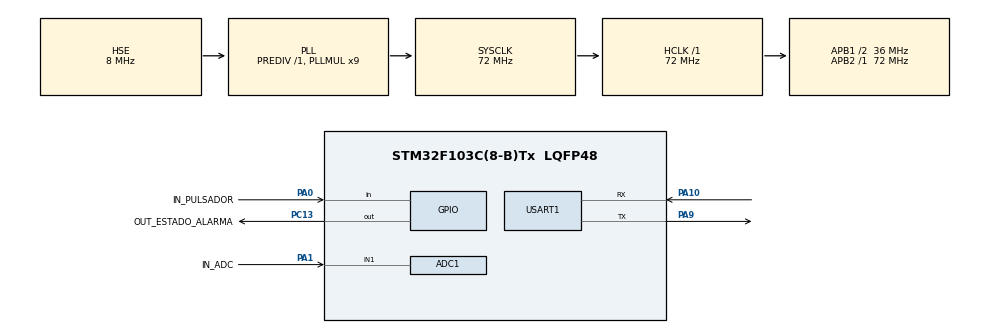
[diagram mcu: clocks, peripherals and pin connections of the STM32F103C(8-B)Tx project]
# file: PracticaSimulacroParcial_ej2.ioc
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ADC1.Channel-0\#ChannelRegularConversion=ADC_CHANNEL_1
ADC1.Channel-1\#ChannelRegularConversion=ADC_CHANNEL_1
ADC1.Channel-10\#ChannelRegularConversion=ADC_CHANNEL_1
ADC1.Channel-11\#ChannelRegularConversion=ADC_CHANNEL_1
ADC1.Channel-12\#ChannelRegularConversion=ADC_CHANNEL_1
ADC1.Channel-13\#ChannelRegularConversion=ADC_CHANNEL_1
ADC1.Channel-14\#ChannelRegularConversion=ADC_CHANNEL_1
ADC1.Channel-15\#ChannelRegularConversion=ADC_CHANNEL_1
ADC1.Channel-2\#ChannelRegularConversion=ADC_CHANNEL_1
ADC1.Channel-3\#ChannelRegularConversion=ADC_CHANNEL_1
ADC1.Channel-4\#ChannelRegularConversion=ADC_CHANNEL_1
ADC1.Channel-5\#ChannelRegularConversion=ADC_CHANNEL_1
ADC1.Channel-6\#ChannelRegularConversion=ADC_CHANNEL_1
ADC1.Channel-7\#ChannelRegularConversion=ADC_CHANNEL_1
ADC1.Channel-8\#ChannelRegularConversion=ADC_CHANNEL_1
ADC1.Channel-9\#ChannelRegularConversion=ADC_CHANNEL_1
ADC1.NbrOfConversion=16
ADC1.NbrOfConversionFlag=1
ADC1.Rank-0\#ChannelRegularConversion=1
ADC1.Rank-1\#ChannelRegularConversion=2
ADC1.Rank-10\#ChannelRegularConversion=11
ADC1.Rank-11\#ChannelRegularConversion=12
ADC1.Rank-12\#ChannelRegularConversion=13
ADC1.Rank-13\#ChannelRegularConversion=14
ADC1.Rank-14\#ChannelRegularConversion=15
ADC1.Rank-15\#ChannelRegularConversion=16
ADC1.Rank-2\#ChannelRegularConversion=3
ADC1.Rank-3\#ChannelRegularConversion=4
ADC1.Rank-4\#ChannelRegularConversion=5
ADC1.Rank-5\#ChannelRegularConversion=6
ADC1.Rank-6\#ChannelRegularConversion=7
ADC1.Rank-7\#ChannelRegularConversion=8
ADC1.Rank-8\#ChannelRegularConversion=9
ADC1.Rank-9\#ChannelRegularConversion=10
ADC1.SamplingTime-0\#ChannelRegularConversion=ADC_SAMPLETIME_1CYCLE_5
ADC1.SamplingTime-1\#ChannelRegularConversion=ADC_SAMPLETIME_1CYCLE_5
ADC1.SamplingTime-10\#ChannelRegularConversion=ADC_SAMPLETIME_1CYCLE_5
ADC1.SamplingTime-11\#ChannelRegularConversion=ADC_SAMPLETIME_1CYCLE_5
ADC1.SamplingTime-12\#ChannelRegularConversion=ADC_SAMPLETIME_1CYCLE_5
ADC1.SamplingTime-13\#ChannelRegularConversion=ADC_SAMPLETIME_1CYCLE_5
ADC1.SamplingTime-14\#ChannelRegularConversion=ADC_SAMPLETIME_1CYCLE_5
ADC1.SamplingTime-15\#ChannelRegularConversion=ADC_SAMPLETIME_1CYCLE_5
ADC1.SamplingTime-2\#ChannelRegularConversion=ADC_SAMPLETIME_1CYCLE_5
ADC1.SamplingTime-3\#ChannelRegularConversion=ADC_SAMPLETIME_1CYCLE_5
ADC1.SamplingTime-4\#ChannelRegularConversion=ADC_SAMPLETIME_1CYCLE_5
ADC1.SamplingTime-5\#ChannelRegularConversion=ADC_SAMPLETIME_1CYCLE_5
ADC1.SamplingTime-6\#ChannelRegularConversion=ADC_SAMPLETIME_1CYCLE_5
ADC1.SamplingTime-7\#ChannelRegularConversion=ADC_SAMPLETIME_1CYCLE_5
ADC1.SamplingTime-8\#ChannelRegularConversion=ADC_SAMPLETIME_1CYCLE_5
ADC1.SamplingTime-9\#ChannelRegularConversion=ADC_SAMPLETIME_1CYCLE_5
ADC1.master=1
Mcu.Family=STM32F1
Mcu.Name=STM32F103C(8-B)Tx
Mcu.Package=LQFP48
NVIC.PriorityGroup=NVIC_PRIORITYGROUP_4
PA0-WKUP.GPIO_Label=IN_PULSADOR
PA0-WKUP.GPIO_PuPd=GPIO_PULLUP
PA0-WKUP.Signal=GPIO_Input
PA1.GPIO_Label=IN_ADC
PA1.Signal=ADCx_IN1
PA10.Mode=Asynchronous
PA10.Signal=USART1_RX
PA13.Mode=Serial_Wire
PA13.Signal=SYS_JTMS-SWDIO
PA14.Mode=Serial_Wire
PA14.Signal=SYS_JTCK-SWCLK
PA9.Mode=Asynchronous
PA9.Signal=USART1_TX
PC13-TAMPER-RTC.GPIO_Label=OUT_ESTADO_ALARMA
PC13-TAMPER-RTC.Signal=GPIO_Output
PD0-OSC_IN.Mode=HSE-External-Oscillator
PD0-OSC_IN.Signal=RCC_OSC_IN
PD1-OSC_OUT.Mode=HSE-External-Oscillator
PD1-OSC_OUT.Signal=RCC_OSC_OUT
ProjectManager.HeapSize=0x200
ProjectManager.StackSize=0x400
ProjectManager.TargetToolchain=STM32CubeIDE
RCC.ADCPresc=RCC_ADCPCLK2_DIV6
RCC.AHBFreq_Value=72000000
RCC.APB1CLKDivider=RCC_HCLK_DIV2
RCC.APB1Freq_Value=36000000
RCC.APB1TimFreq_Value=72000000
RCC.APB2Freq_Value=72000000
RCC.APB2TimFreq_Value=72000000
RCC.HCLKFreq_Value=72000000
RCC.PLLMUL=RCC_PLL_MUL9
RCC.PLLSourceVirtual=RCC_PLLSOURCE_HSE
RCC.SYSCLKFreq_VALUE=72000000
RCC.SYSCLKSource=RCC_SYSCLKSOURCE_PLLCLK
RCC.USBFreq_Value=72000000
SH.ADCx_IN1.0=ADC1_IN1,IN1
USART1.VirtualMode=VM_ASYNC
board=custom

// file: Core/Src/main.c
/* USER CODE BEGIN Header */
/**
  ******************************************************************************
  * @file           : main.c
  * @brief          : Main program body
  ******************************************************************************
  * @attention
  *
  * Copyright (c) 2026 STMicroelectronics.
  * All rights reserved.
  *
  * This software is licensed under terms that can be found in the LICENSE file
  * in the root directory of this software component.
  * If no LICENSE file comes with this software, it is provided AS-IS.
  *
  ******************************************************************************
  */
/* USER CODE END Header */
#include "main.h"

/* USER CODE BEGIN Includes */

#include "variable.h"
#include "stdio.h"
#include "string.h"

/* USER CODE END Includes */

/* USER CODE BEGIN PD */
#define MESSAGE_BUFFER_SIZE (60)
#define SAMPLES_PER_ADC_READ (10)
#define ADC_OFFSET_ERROR_MV (0.02f)
/*#define DEBUG_FSM*/

/* USER CODE END PD */

ADC_HandleTypeDef hadc1;

UART_HandleTypeDef huart1;

/* USER CODE BEGIN PV */
char msjBuffer[MESSAGE_BUFFER_SIZE] = {0};
/* USER CODE END PV */

void SystemClock_Config(void);
static void MX_GPIO_Init(void);
static void MX_ADC1_Init(void);
static void MX_USART1_UART_Init(void);

/* USER CODE BEGIN PFP */
void ADC_read(var_t *v);
void print_uart_message(var_t *v);
void read_btn(var_t *v);
/* USER CODE END PFP */

int main(void)
{

  /* MCU Configuration--------------------------------------------------------*/

  /* Reset of all peripherals, Initializes the Flash interface and the Systick. */
  HAL_Init();

  /* Configure the system clock */
  SystemClock_Config();

  /* Initialize all configured peripherals */
  MX_GPIO_Init();
  MX_ADC1_Init();
  MX_USART1_UART_Init();
  /* USER CODE BEGIN 2 */

  var_t v;
  var_init(&v, 1500.0f, 3000.0f, 1000.0f);

  // Se verifica el funcionamiento de la máquina
#ifdef DEBUG_FSM

  // estado: NORMAL
  var_set_val(&v, 1500.0f); // estado: NORMAL
  var_set_val(&v, 3500.0f); // estado: HI
  var_set_val(&v, 1500.0f); // estado: VAR_WAITING_ACK
  var_set_val(&v, 500.0f); 	// estado: LO
  var_set_val(&v, 1500.0f); // estado: VAR_WAITING_ACK

  var_ack_alarm(&v); // estado: VAR_WAITING_ACK

  while(1){
  }

#endif // DEBUG_FSM

  uint32_t lastTick1 = HAL_GetTick();
  uint32_t lastTick2 = HAL_GetTick();
  uint32_t lastTick3 = HAL_GetTick();

  const uint32_t periodo1 = 100;
  const uint32_t periodo2 = 1000;
  const uint32_t periodo3 = 200;

  /* Comienzo a hacer conversiones constantemente */
  HAL_ADCEx_Calibration_Start(&hadc1);

  HAL_UART_Transmit(&huart1, (const uint8_t*)msjBuffer, MESSAGE_BUFFER_SIZE, HAL_MAX_DELAY);

  HAL_GPIO_WritePin(OUT_ESTADO_ALARMA_GPIO_Port, OUT_ESTADO_ALARMA_Pin, GPIO_PIN_SET);

  /* USER CODE END 2 */

  /* Infinite loop */
  while (1)
  {

    /* USER CODE BEGIN 3 */
	  if(HAL_GetTick()-lastTick1>=periodo1){
		  lastTick1=HAL_GetTick();
		  ADC_read(&v);
	  }
	  if(HAL_GetTick()-lastTick2>=periodo2){
		  lastTick2=HAL_GetTick();
		  print_uart_message(&v);
	  }
	  if(HAL_GetTick()-lastTick3>=periodo3){
		  lastTick3=HAL_GetTick();
		  read_btn(&v);
	  }
  }
  /* USER CODE END 3 */
}

void SystemClock_Config(void)
{
  RCC_OscInitTypeDef RCC_OscInitStruct = {0};
  RCC_ClkInitTypeDef RCC_ClkInitStruct = {0};
  RCC_PeriphCLKInitTypeDef PeriphClkInit = {0};

  /** Initializes the RCC Oscillators according to the specified parameters
  * in the RCC_OscInitTypeDef structure.
  */
  RCC_OscInitStruct.OscillatorType = RCC_OSCILLATORTYPE_HSE;
  RCC_OscInitStruct.HSEState = RCC_HSE_ON;
  RCC_OscInitStruct.HSEPredivValue = RCC_HSE_PREDIV_DIV1;
  RCC_OscInitStruct.HSIState = RCC_HSI_ON;
  RCC_OscInitStruct.PLL.PLLState = RCC_PLL_ON;
  RCC_OscInitStruct.PLL.PLLSource = RCC_PLLSOURCE_HSE;
  RCC_OscInitStruct.PLL.PLLMUL = RCC_PLL_MUL9;
  if (HAL_RCC_OscConfig(&RCC_OscInitStruct) != HAL_OK)
  {
    Error_Handler();
  }

  /** Initializes the CPU, AHB and APB buses clocks
  */
  RCC_ClkInitStruct.ClockType = RCC_CLOCKTYPE_HCLK|RCC_CLOCKTYPE_SYSCLK
                              |RCC_CLOCKTYPE_PCLK1|RCC_CLOCKTYPE_PCLK2;
  RCC_ClkInitStruct.SYSCLKSource = RCC_SYSCLKSOURCE_PLLCLK;
  RCC_ClkInitStruct.AHBCLKDivider = RCC_SYSCLK_DIV1;
  RCC_ClkInitStruct.APB1CLKDivider = RCC_HCLK_DIV2;
  RCC_ClkInitStruct.APB2CLKDivider = RCC_HCLK_DIV1;

  if (HAL_RCC_ClockConfig(&RCC_ClkInitStruct, FLASH_LATENCY_2) != HAL_OK)
  {
    Error_Handler();
  }
  PeriphClkInit.PeriphClockSelection = RCC_PERIPHCLK_ADC;
  PeriphClkInit.AdcClockSelection = RCC_ADCPCLK2_DIV6;
  if (HAL_RCCEx_PeriphCLKConfig(&PeriphClkInit) != HAL_OK)
  {
    Error_Handler();
  }
}

static void MX_ADC1_Init(void)
{

  ADC_ChannelConfTypeDef sConfig = {0};

  /** Common config
  */
  hadc1.Instance = ADC1;
  hadc1.Init.ScanConvMode = ADC_SCAN_DISABLE;
  hadc1.Init.ContinuousConvMode = DISABLE;
  hadc1.Init.DiscontinuousConvMode = DISABLE;
  hadc1.Init.ExternalTrigConv = ADC_SOFTWARE_START;
  hadc1.Init.DataAlign = ADC_DATAALIGN_RIGHT;
  hadc1.Init.NbrOfConversion = 1;
  if (HAL_ADC_Init(&hadc1) != HAL_OK)
  {
    Error_Handler();
  }

  /** Configure Regular Channel
  */
  sConfig.Channel = ADC_CHANNEL_1;
  sConfig.Rank = ADC_REGULAR_RANK_1;
  sConfig.SamplingTime = ADC_SAMPLETIME_1CYCLE_5;
  if (HAL_ADC_ConfigChannel(&hadc1, &sConfig) != HAL_OK)
  {
    Error_Handler();
  }

}

static void MX_USART1_UART_Init(void)
{

  huart1.Instance = USART1;
  huart1.Init.BaudRate = 115200;
  huart1.Init.WordLength = UART_WORDLENGTH_8B;
  huart1.Init.StopBits = UART_STOPBITS_1;
  huart1.Init.Parity = UART_PARITY_NONE;
  huart1.Init.Mode = UART_MODE_TX_RX;
  huart1.Init.HwFlowCtl = UART_HWCONTROL_NONE;
  huart1.Init.OverSampling = UART_OVERSAMPLING_16;
  if (HAL_UART_Init(&huart1) != HAL_OK)
  {
    Error_Handler();
  }

}

static void MX_GPIO_Init(void)
{
  GPIO_InitTypeDef GPIO_InitStruct = {0};

  /* GPIO Ports Clock Enable */
  __HAL_RCC_GPIOC_CLK_ENABLE();
  __HAL_RCC_GPIOD_CLK_ENABLE();
  __HAL_RCC_GPIOA_CLK_ENABLE();

  /*Configure GPIO pin Output Level */
  HAL_GPIO_WritePin(OUT_ESTADO_ALARMA_GPIO_Port, OUT_ESTADO_ALARMA_Pin, GPIO_PIN_RESET);

  /*Configure GPIO pin : OUT_ESTADO_ALARMA_Pin */
  GPIO_InitStruct.Pin = OUT_ESTADO_ALARMA_Pin;
  GPIO_InitStruct.Mode = GPIO_MODE_OUTPUT_PP;
  GPIO_InitStruct.Pull = GPIO_NOPULL;
  GPIO_InitStruct.Speed = GPIO_SPEED_FREQ_LOW;
  HAL_GPIO_Init(OUT_ESTADO_ALARMA_GPIO_Port, &GPIO_InitStruct);

  /*Configure GPIO pin : IN_PULSADOR_Pin */
  GPIO_InitStruct.Pin = IN_PULSADOR_Pin;
  GPIO_InitStruct.Mode = GPIO_MODE_INPUT;
  GPIO_InitStruct.Pull = GPIO_PULLUP;
  HAL_GPIO_Init(IN_PULSADOR_GPIO_Port, &GPIO_InitStruct);

}

/* USER CODE BEGIN 4 */
void ADC_read(var_t *v) {
	v->valor_anterior = v->valor;
	uint32_t sum = 0;
	for (uint32_t i = 0; i < SAMPLES_PER_ADC_READ; i++) {
		HAL_ADC_Start(&hadc1);
		HAL_ADC_PollForConversion(&hadc1, 1);
		sum += HAL_ADC_GetValue(&hadc1);
	}
	uint32_t adc_read = sum / SAMPLES_PER_ADC_READ;
	float adc_mv = (adc_read * 3.3f) / 4095.0f - ADC_OFFSET_ERROR_MV;
	var_set_val(v, adc_mv*1000.0f);
}
void print_uart_message(var_t *v) {
	memset(msjBuffer, 0, MESSAGE_BUFFER_SIZE);
	switch (v->estado) {
	case VAR_NORMAL:
		HAL_GPIO_WritePin(OUT_ESTADO_ALARMA_GPIO_Port, OUT_ESTADO_ALARMA_Pin, GPIO_PIN_SET);
		float diff = v->valor > v->valor_anterior ? v->valor - v->valor_anterior : v->valor_anterior - v->valor;
		float percent = 0.0f;
		if (v->valor_anterior != 0)
			percent = (diff * 1000.0f) / (float)v->valor_anterior;
		if (percent > 5.0f) {
			sniprintf(msjBuffer, MESSAGE_BUFFER_SIZE,"%d \n\r", (int)(v->valor));
			HAL_UART_Transmit(&huart1, (const uint8_t*)msjBuffer, MESSAGE_BUFFER_SIZE, HAL_MAX_DELAY);
			return;
		}
		break;
	case VAR_HI:
		HAL_GPIO_WritePin(OUT_ESTADO_ALARMA_GPIO_Port, OUT_ESTADO_ALARMA_Pin, GPIO_PIN_RESET);
		sniprintf(msjBuffer, MESSAGE_BUFFER_SIZE," %d ALARMA ALTA\n\r", (int)(v->valor));
		HAL_UART_Transmit(&huart1, (const uint8_t*)msjBuffer, MESSAGE_BUFFER_SIZE, HAL_MAX_DELAY);
		break;
	case VAR_LO:
		HAL_GPIO_WritePin(OUT_ESTADO_ALARMA_GPIO_Port, OUT_ESTADO_ALARMA_Pin, GPIO_PIN_RESET);
		sniprintf(msjBuffer, MESSAGE_BUFFER_SIZE," %d ALARMA BAJA\n\r", (int)(v->valor));
		HAL_UART_Transmit(&huart1, (const uint8_t*)msjBuffer, MESSAGE_BUFFER_SIZE, HAL_MAX_DELAY);
		break;
	case VAR_WAITING_ACK:
		HAL_GPIO_WritePin(OUT_ESTADO_ALARMA_GPIO_Port, OUT_ESTADO_ALARMA_Pin, GPIO_PIN_RESET);
		sniprintf(msjBuffer, MESSAGE_BUFFER_SIZE,"%d RECONOCIMIENTO DE ALARMA PENDIENTE\n\r", (int)(v->valor));
		HAL_UART_Transmit(&huart1, (const uint8_t*)msjBuffer, MESSAGE_BUFFER_SIZE, HAL_MAX_DELAY);
		break;
	}
}

void read_btn(var_t *v){
	GPIO_PinState val = HAL_GPIO_ReadPin(IN_PULSADOR_GPIO_Port, IN_PULSADOR_Pin);
	if (val != GPIO_PIN_RESET) return;
	var_ack_alarm(v);
}

/* USER CODE END 4 */

void Error_Handler(void)
{
  __disable_irq();
  while (1)
  {
  }
}
